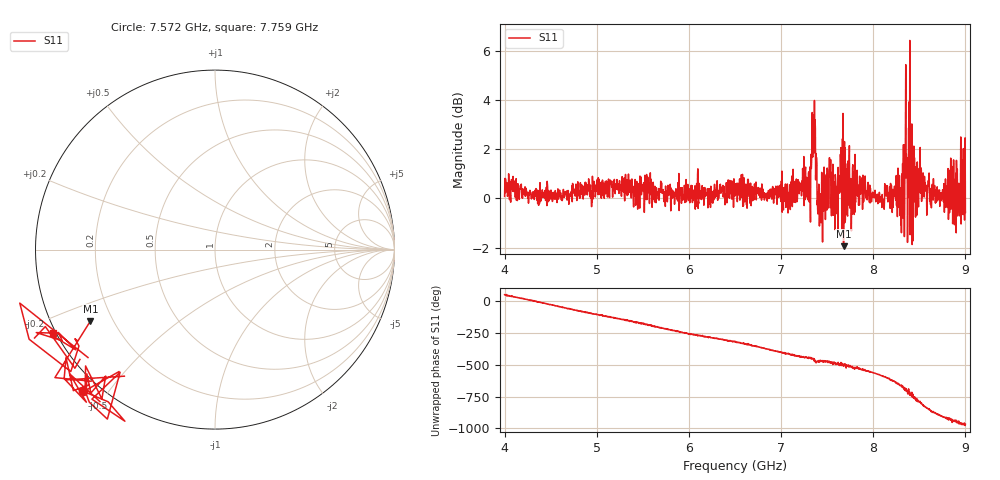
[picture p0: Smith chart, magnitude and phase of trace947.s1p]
! Created with skrf 1.8.0 (http://scikit-rf.org).
# Hz S RI R 50.0
!freq ReS11 ImS11
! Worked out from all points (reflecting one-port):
!   1601 points, 4 GHz to 9 GHz, reference 50 ohm
!   lowest |S11| = -1.9 dB at 7.678 GHz (marker M1), VSWR 8.98, Z = 5.96 - j13.1 ohm
!   phase of S11 starts at 53 deg and turns -1021 deg over the sweep
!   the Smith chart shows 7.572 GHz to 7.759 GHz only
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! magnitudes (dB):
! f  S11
! 4 GHz  0.1
! 4.625 GHz  -0.1
! 5.25 GHz  0.5
! 5.875 GHz  0.2
! 6.5 GHz  0.6
! 7.125 GHz  0.6
! 7.294 GHz  -0.1
! 7.347 GHz  3.4
! 7.362 GHz  4.0
! 7.4 GHz  -0.6
! 7.425 GHz  -0.2
! 7.512 GHz  0.9
! 7.591 GHz  0.8
! 7.65 GHz  2.1
! 7.678 GHz  -1.9
! 7.703 GHz  -0.6
! 7.75 GHz  -0.1
! 8.097 GHz  0.2
! 8.247 GHz  0.2
! 8.316 GHz  0.1
! 8.334 GHz  0.4
! 8.356 GHz  0.8
! 8.375 GHz  0.2
! 8.447 GHz  1.7
! 8.503 GHz  0.6
! 8.747 GHz  0.0
! 8.972 GHz  0.2
! 9 GHz  -0.6
